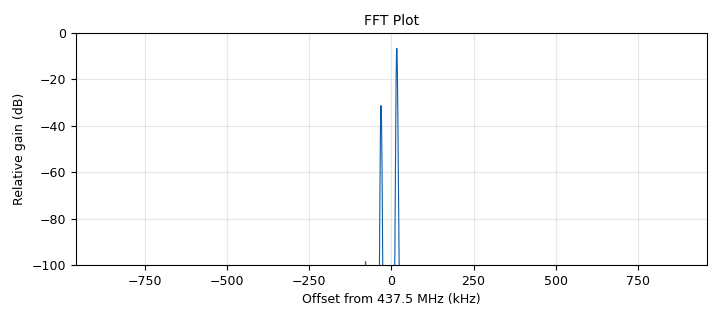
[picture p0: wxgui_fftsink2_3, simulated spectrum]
<?xml version='1.0' encoding='utf-8'?>
<?grc format='1' created='3.7.13'?>
<flow_graph>
<block>
<key>options</key>
<param><key>id</key><value>NBFM</value></param>
<param><key>generate_options</key><value>wx_gui</value></param>
<param><key>realtime_scheduling</key><value>1</value></param>
</block>
<block>
<key>variable</key>
<param><key>id</key><value>audio_rate</value></param>
<param><key>value</key><value>48000</value></param>
</block>
<block>
<key>variable</key>
<param><key>id</key><value>center_freq</value></param>
<param><key>value</key><value>437.5e6</value></param>
</block>
<block>
<key>variable</key>
<param><key>id</key><value>samp_rate</value></param>
<param><key>value</key><value>1920000</value></param>
</block>
<block>
<key>analog_nbfm_tx</key>
<param><key>id</key><value>analog_nbfm_tx_0</value></param>
<param><key>audio_rate</key><value>audio_rate</value></param>
<param><key>max_dev</key><value>5e3</value></param>
<param><key>fh</key><value>-1.0</value></param>
<param><key>quad_rate</key><value>audio_rate * 2</value></param>
<param><key>tau</key><value>75e-6</value></param>
</block>
<block>
<key>analog_sig_source_x</key>
<param><key>id</key><value>analog_sig_source_x_0</value></param>
<param><key>amp</key><value>1</value></param>
<param><key>freq</key><value>0</value></param>
<param><key>offset</key><value>0</value></param>
<param><key>type</key><value>complex</value></param>
<param><key>samp_rate</key><value>samp_rate</value></param>
<param><key>waveform</key><value>analog.GR_COS_WAVE</value></param>
</block>
<block>
<key>analog_sig_source_x</key>
<param><key>id</key><value>analog_sig_source_x_1</value></param>
<param><key>amp</key><value>0.25</value></param>
<param><key>freq</key><value>1000</value></param>
<param><key>offset</key><value>1.5708</value></param>
<param><key>type</key><value>complex</value></param>
<param><key>samp_rate</key><value>samp_rate</value></param>
<param><key>waveform</key><value>analog.GR_SIN_WAVE</value></param>
</block>
<block>
<key>analog_sig_source_x</key>
<param><key>id</key><value>analog_sig_source_x_2</value></param>
<param><key>amp</key><value>0.75</value></param>
<param><key>freq</key><value>2000</value></param>
<param><key>offset</key><value>0</value></param>
<param><key>type</key><value>complex</value></param>
<param><key>samp_rate</key><value>samp_rate</value></param>
<param><key>waveform</key><value>analog.GR_SIN_WAVE</value></param>
</block>
<block>
<key>analog_sig_source_x</key>
<param><key>id</key><value>analog_sig_source_x_3</value></param>
<param><key>amp</key><value>0.5</value></param>
<param><key>freq</key><value>3000</value></param>
<param><key>offset</key><value>0.7854</value></param>
<param><key>type</key><value>complex</value></param>
<param><key>samp_rate</key><value>samp_rate</value></param>
<param><key>waveform</key><value>analog.GR_SIN_WAVE</value></param>
</block>
<block>
<key>analog_sig_source_x</key>
<param><key>id</key><value>analog_sig_source_x_4</value></param>
<param><key>amp</key><value>1.25</value></param>
<param><key>freq</key><value>4000</value></param>
<param><key>offset</key><value>1.04721</value></param>
<param><key>type</key><value>complex</value></param>
<param><key>samp_rate</key><value>samp_rate</value></param>
<param><key>waveform</key><value>analog.GR_SIN_WAVE</value></param>
</block>
<block>
<key>blocks_add_xx</key>
<param><key>id</key><value>blocks_add_xx_0</value></param>
<param><key>type</key><value>complex</value></param>
<param><key>num_inputs</key><value>4</value></param>
</block>
<block>
<key>blocks_complex_to_real</key>
<param><key>id</key><value>blocks_complex_to_real_0</value></param>
</block>
<block>
<key>blocks_multiply_xx</key>
<param><key>id</key><value>blocks_multiply_xx_0</value></param>
<param><key>type</key><value>complex</value></param>
</block>
<block>
<key>rational_resampler_xxx</key>
<param><key>id</key><value>rational_resampler_xxx_0</value></param>
<param><key>decim</key><value>1</value></param>
<param><key>interp</key><value>samp_rate / audio_rate / 2</value></param>
<param><key>taps</key><value></value></param>
<param><key>type</key><value>ccc</value></param>
</block>
<block>
<key>wxgui_fftsink2</key>
<param><key>id</key><value>wxgui_fftsink2_3</value></param>
<param><key>avg_alpha</key><value>0</value></param>
<param><key>average</key><value>False</value></param>
<param><key>baseband_freq</key><value>center_freq</value></param>
<param><key>fft_size</key><value>4096</value></param>
<param><key>freqvar</key><value>None</value></param>
<param><key>peak_hold</key><value>False</value></param>
<param><key>ref_level</key><value>0</value></param>
<param><key>ref_scale</key><value>2.0</value></param>
<param><key>fft_rate</key><value>15</value></param>
<param><key>samp_rate</key><value>samp_rate</value></param>
<param><key>title</key><value>FFT Plot</value></param>
<param><key>type</key><value>complex</value></param>
<param><key>win</key><value>None</value></param>
<param><key>y_divs</key><value>10</value></param>
<param><key>y_per_div</key><value>10</value></param>
</block>
<block>
<key>wxgui_scopesink2</key>
<param><key>id</key><value>wxgui_scopesink2_0</value></param>
<param><key>ac_couple</key><value>False</value></param>
<param><key>_enabled</key><value>0</value></param>
<param><key>num_inputs</key><value>1</value></param>
<param><key>samp_rate</key><value>samp_rate</value></param>
<param><key>t_scale</key><value>0</value></param>
<param><key>title</key><value>Scope Plot</value></param>
<param><key>trig_mode</key><value>wxgui.TRIG_MODE_AUTO</value></param>
<param><key>type</key><value>complex</value></param>
<param><key>v_offset</key><value>0</value></param>
<param><key>v_scale</key><value>0</value></param>
<param><key>xy_mode</key><value>False</value></param>
<param><key>y_axis_label</key><value>Counts</value></param>
</block>
<connection><source_block_id>analog_nbfm_tx_0</source_block_id><sink_block_id>rational_resampler_xxx_0</sink_block_id><source_key>0</source_key><sink_key>0</sink_key></connection>
<connection><source_block_id>analog_sig_source_x_0</source_block_id><sink_block_id>blocks_multiply_xx_0</sink_block_id><source_key>0</source_key><sink_key>1</sink_key></connection>
<connection><source_block_id>analog_sig_source_x_1</source_block_id><sink_block_id>blocks_add_xx_0</sink_block_id><source_key>0</source_key><sink_key>0</sink_key></connection>
<connection><source_block_id>analog_sig_source_x_2</source_block_id><sink_block_id>blocks_add_xx_0</sink_block_id><source_key>0</source_key><sink_key>1</sink_key></connection>
<connection><source_block_id>analog_sig_source_x_3</source_block_id><sink_block_id>blocks_add_xx_0</sink_block_id><source_key>0</source_key><sink_key>2</sink_key></connection>
<connection><source_block_id>analog_sig_source_x_4</source_block_id><sink_block_id>blocks_add_xx_0</sink_block_id><source_key>0</source_key><sink_key>3</sink_key></connection>
<connection><source_block_id>blocks_add_xx_0</source_block_id><sink_block_id>blocks_complex_to_real_0</sink_block_id><source_key>0</source_key><sink_key>0</sink_key></connection>
<connection><source_block_id>blocks_complex_to_real_0</source_block_id><sink_block_id>analog_nbfm_tx_0</sink_block_id><source_key>0</source_key><sink_key>0</sink_key></connection>
<connection><source_block_id>blocks_multiply_xx_0</source_block_id><sink_block_id>wxgui_fftsink2_3</sink_block_id><source_key>0</source_key><sink_key>0</sink_key></connection>
<connection><source_block_id>blocks_multiply_xx_0</source_block_id><sink_block_id>wxgui_scopesink2_0</sink_block_id><source_key>0</source_key><sink_key>0</sink_key></connection>
<connection><source_block_id>rational_resampler_xxx_0</source_block_id><sink_block_id>blocks_multiply_xx_0</sink_block_id><source_key>0</source_key><sink_key>0</sink_key></connection>
</flow_graph>
